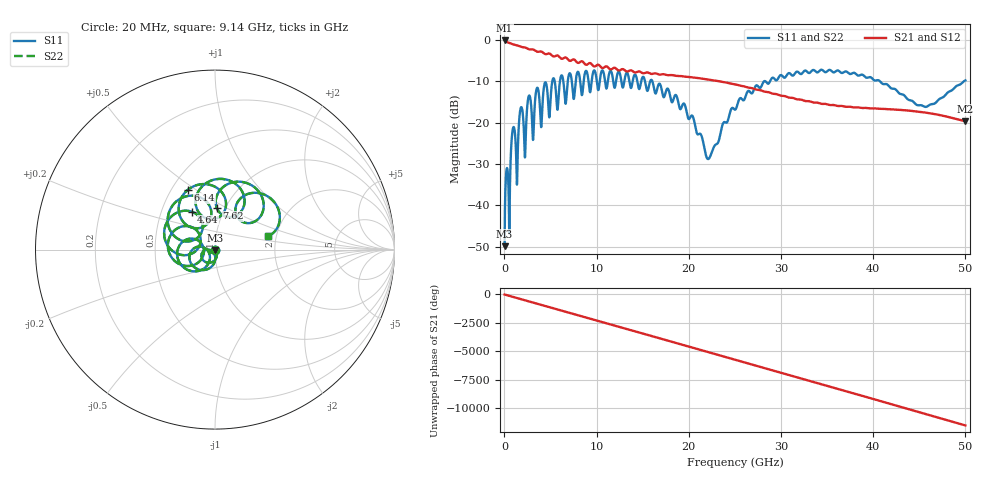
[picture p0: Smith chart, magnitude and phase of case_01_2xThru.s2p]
# HZ S RI R 50
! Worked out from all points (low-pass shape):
!   2500 points, 20 MHz to 50 GHz, reference 50 ohm
!   highest |S21| = -0.12 dB at 20 MHz (marker M1); lowest = -19.7 dB at 50 GHz (marker M2)
!   |S21| within 3 dB of the highest: start of sweep to 4.222 GHz
!   lowest |S11| = -49.9 dB at 20 MHz (marker M3), VSWR 1.01, Z = 50 - j0.317 ohm
!   |S11| at or under -10 dB: start of sweep to 5.194 GHz; 16.05 GHz to 28.16 GHz (12.11 GHz wide, 54.8 % of centre); 40.74 GHz to 49.83 GHz (9.094 GHz wide, 20.1 % of centre)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
!   |S22| runs from -49.9 to -7.2 dB; largest |S21 - S12| = 0
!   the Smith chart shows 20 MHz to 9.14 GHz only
!   S11 on the Smith chart (normalised r, x): 20 MHz: 1.00, -0.01; 4.64 GHz: 0.71, +0.32; 6.14 GHz: 0.60, +0.46; 7.62 GHz: 0.91, +0.45; 9.14 GHz: 1.80, +0.30
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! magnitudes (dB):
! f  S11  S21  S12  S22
! 20 MHz  -49.9  -0.1  -0.1  -49.9
! 940 MHz  -21.3  -1.1  -1.1  -21.3
! 1.32 GHz  -32.4  -1.3  -1.3  -32.4
! 1.8 GHz  -16.3  -1.7  -1.7  -16.3
! 2.2 GHz  -27.6  -1.8  -1.8  -27.6
! 2.66 GHz  -13.5  -2.2  -2.2  -13.5
! 3.08 GHz  -23.7  -2.3  -2.3  -23.7
! 3.54 GHz  -11.6  -2.8  -2.8  -11.6
! 3.96 GHz  -20.7  -2.8  -2.8  -20.7
! 4.64 GHz  -12.1  -3.4  -3.4  -12.1
! 6.14 GHz  -8.7  -4.5  -4.5  -8.7
! 7.62 GHz  -12.6  -4.8  -4.8  -12.6
! 8.36 GHz  -13.0  -5.1  -5.1  -13.0
! 9.14 GHz  -10.4  -5.7  -5.7  -10.4
! 16.68 GHz  -11.0  -8.3  -8.3  -11.0
! 19.52 GHz  -15.5  -8.9  -8.9  -15.5
! 22.08 GHz  -28.8  -9.5  -9.5  -28.8
! 25.02 GHz  -16.8  -10.7  -10.7  -16.8
! 33.34 GHz  -7.4  -15.0  -15.0  -7.4
! 41.68 GHz  -11.1  -16.8  -16.8  -11.1
! 45.7 GHz  -16.2  -17.6  -17.6  -16.2
! 50 GHz  -9.8  -19.7  -19.7  -9.8
